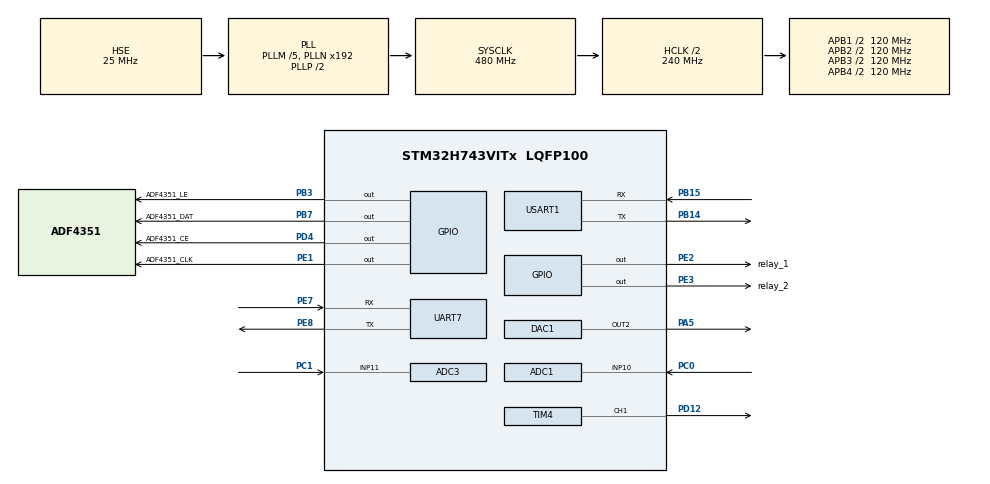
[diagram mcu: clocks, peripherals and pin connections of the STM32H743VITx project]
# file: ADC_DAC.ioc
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ADC1.Channel-1\#ChannelRegularConversion=ADC_CHANNEL_10
ADC1.ClockPrescaler=ADC_CLOCK_ASYNC_DIV1
ADC1.ConversionDataManagement=ADC_CONVERSIONDATA_DMA_CIRCULAR
ADC1.ExternalTrigConv=ADC_EXTERNALTRIG_T15_TRGO
ADC1.NbrOfConversion=1
ADC1.NbrOfConversionFlag=1
ADC1.OffsetNumber-1\#ChannelRegularConversion=ADC_OFFSET_NONE
ADC1.OffsetSignedSaturation-1\#ChannelRegularConversion=DISABLE
ADC1.OversamplingMode=ENABLE
ADC1.Rank-1\#ChannelRegularConversion=1
ADC1.Ratio=1024
ADC1.RightBitShift=ADC_RIGHTBITSHIFT_10
ADC1.SamplingTime-1\#ChannelRegularConversion=ADC_SAMPLETIME_810CYCLES_5
ADC1.master=1
ADC3.Channel-0\#ChannelRegularConversion=ADC_CHANNEL_11
ADC3.ConversionDataManagement=ADC_CONVERSIONDATA_DMA_CIRCULAR
ADC3.ExternalTrigConv=ADC_EXTERNALTRIG_T1_TRGO
ADC3.NbrOfConversionFlag=1
ADC3.OffsetNumber-0\#ChannelRegularConversion=ADC_OFFSET_NONE
ADC3.OffsetSignedSaturation-0\#ChannelRegularConversion=DISABLE
ADC3.Rank-0\#ChannelRegularConversion=1
ADC3.SamplingTime-0\#ChannelRegularConversion=ADC_SAMPLETIME_1CYCLE_5
CORTEX_M7.AccessPermission-Cortex_Memory_Protection_Unit_Region0_Settings=MPU_REGION_FULL_ACCESS
CORTEX_M7.AccessPermission-Cortex_Memory_Protection_Unit_Region1_Settings=MPU_REGION_FULL_ACCESS
CORTEX_M7.AccessPermission-Cortex_Memory_Protection_Unit_Region2_Settings=MPU_REGION_FULL_ACCESS
CORTEX_M7.AccessPermission-Cortex_Memory_Protection_Unit_Region3_Settings=MPU_REGION_FULL_ACCESS
CORTEX_M7.AccessPermission-Cortex_Memory_Protection_Unit_Region4_Settings=MPU_REGION_FULL_ACCESS
CORTEX_M7.AccessPermission_S-Cortex_Memory_Protection_Unit_Region1_Settings_S=MPU_REGION_FULL_ACCESS
CORTEX_M7.AccessPermission_S-Cortex_Memory_Protection_Unit_Region2_Settings_S=MPU_REGION_FULL_ACCESS
CORTEX_M7.AccessPermission_Spec=MPU_REGION_FULL_ACCESS
CORTEX_M7.BaseAddress-Cortex_Memory_Protection_Unit_Region0_Settings=0x24000000
CORTEX_M7.BaseAddress-Cortex_Memory_Protection_Unit_Region1_Settings=0x30000000
CORTEX_M7.BaseAddress-Cortex_Memory_Protection_Unit_Region2_Settings=0x30020000
CORTEX_M7.BaseAddress-Cortex_Memory_Protection_Unit_Region3_Settings=0x30040000
CORTEX_M7.BaseAddress-Cortex_Memory_Protection_Unit_Region4_Settings=0x38000000
CORTEX_M7.BaseAddress_S-Cortex_Memory_Protection_Unit_Region1_Settings_S=0x30000000
CORTEX_M7.BaseAddress_S-Cortex_Memory_Protection_Unit_Region2_Settings_S=0x30020000
CORTEX_M7.BaseAddress_Spec=0x24000000
CORTEX_M7.CPU_DCache=Enabled
CORTEX_M7.CPU_ICache=Enabled
CORTEX_M7.DisableExec_S-Cortex_Memory_Protection_Unit_Region1_Settings_S=MPU_INSTRUCTION_ACCESS_ENABLE
CORTEX_M7.DisableExec_S-Cortex_Memory_Protection_Unit_Region2_Settings_S=MPU_INSTRUCTION_ACCESS_ENABLE
CORTEX_M7.DisableExec_Spec=MPU_INSTRUCTION_ACCESS_ENABLE
CORTEX_M7.Enable-Cortex_Memory_Protection_Unit_Region0_Settings=MPU_REGION_ENABLE
CORTEX_M7.Enable-Cortex_Memory_Protection_Unit_Region1_Settings=MPU_REGION_ENABLE
CORTEX_M7.Enable-Cortex_Memory_Protection_Unit_Region2_Settings=MPU_REGION_ENABLE
CORTEX_M7.Enable-Cortex_Memory_Protection_Unit_Region3_Settings=MPU_REGION_ENABLE
CORTEX_M7.Enable-Cortex_Memory_Protection_Unit_Region4_Settings=MPU_REGION_ENABLE
CORTEX_M7.Enable_S-Cortex_Memory_Protection_Unit_Region1_Settings_S=MPU_REGION_ENABLE
CORTEX_M7.Enable_S-Cortex_Memory_Protection_Unit_Region2_Settings_S=MPU_REGION_ENABLE
CORTEX_M7.IsBufferable-Cortex_Memory_Protection_Unit_Region0_Settings=MPU_ACCESS_NOT_BUFFERABLE
CORTEX_M7.IsBufferable_S-Cortex_Memory_Protection_Unit_Region1_Settings_S=MPU_ACCESS_NOT_BUFFERABLE
CORTEX_M7.IsBufferable_Spec=MPU_ACCESS_BUFFERABLE
CORTEX_M7.IsCacheable-Cortex_Memory_Protection_Unit_Region0_Settings=MPU_ACCESS_NOT_CACHEABLE
CORTEX_M7.IsCacheable_S-Cortex_Memory_Protection_Unit_Region1_Settings_S=MPU_ACCESS_NOT_CACHEABLE
CORTEX_M7.IsCacheable_Spec=MPU_ACCESS_CACHEABLE
CORTEX_M7.IsShareable_Spec=MPU_ACCESS_NOT_SHAREABLE
CORTEX_M7.MPU_Control=MPU_PRIVILEGED_DEFAULT
CORTEX_M7.Size-Cortex_Memory_Protection_Unit_Region0_Settings=MPU_REGION_SIZE_512KB
CORTEX_M7.Size-Cortex_Memory_Protection_Unit_Region1_Settings=MPU_REGION_SIZE_128KB
CORTEX_M7.Size-Cortex_Memory_Protection_Unit_Region2_Settings=MPU_REGION_SIZE_128KB
CORTEX_M7.Size-Cortex_Memory_Protection_Unit_Region3_Settings=MPU_REGION_SIZE_32KB
CORTEX_M7.Size-Cortex_Memory_Protection_Unit_Region4_Settings=MPU_REGION_SIZE_64KB
CORTEX_M7.Size_S-Cortex_Memory_Protection_Unit_Region1_Settings_S=MPU_REGION_SIZE_128KB
CORTEX_M7.Size_S-Cortex_Memory_Protection_Unit_Region2_Settings_S=MPU_REGION_SIZE_128KB
CORTEX_M7.Size_Spec=MPU_REGION_SIZE_512KB
CORTEX_M7.SubRegionDisable_Spec=0x0
CORTEX_M7.TypeExtField-Cortex_Memory_Protection_Unit_Region0_Settings=MPU_TEX_LEVEL1
CORTEX_M7.TypeExtField-Cortex_Memory_Protection_Unit_Region1_Settings=MPU_TEX_LEVEL1
CORTEX_M7.TypeExtField-Cortex_Memory_Protection_Unit_Region2_Settings=MPU_TEX_LEVEL1
CORTEX_M7.TypeExtField-Cortex_Memory_Protection_Unit_Region3_Settings=MPU_TEX_LEVEL1
CORTEX_M7.TypeExtField-Cortex_Memory_Protection_Unit_Region4_Settings=MPU_TEX_LEVEL1
CORTEX_M7.TypeExtField_S-Cortex_Memory_Protection_Unit_Region1_Settings_S=MPU_TEX_LEVEL1
CORTEX_M7.TypeExtField_S-Cortex_Memory_Protection_Unit_Region2_Settings_S=MPU_TEX_LEVEL1
CORTEX_M7.TypeExtField_Spec=MPU_TEX_LEVEL1
DAC1.DAC2_OutputBuffer-DAC_OUT2=DAC_OUTPUTBUFFER_DISABLE
DAC1.DAC_Channel-DAC_OUT2=DAC_CHANNEL_2
DAC1.DAC_Trigger-DAC_OUT2=DAC_TRIGGER_T6_TRGO
Dma.ADC1.0.Direction=DMA_PERIPH_TO_MEMORY
Dma.ADC1.0.EventEnable=DISABLE
Dma.ADC1.0.FIFOMode=DMA_FIFOMODE_DISABLE
Dma.ADC1.0.Instance=DMA1_Stream1
Dma.ADC1.0.MemDataAlignment=DMA_MDATAALIGN_HALFWORD
Dma.ADC1.0.MemInc=DMA_MINC_ENABLE
Dma.ADC1.0.Mode=DMA_NORMAL
Dma.ADC1.0.PeriphDataAlignment=DMA_PDATAALIGN_HALFWORD
Dma.ADC1.0.PeriphInc=DMA_PINC_DISABLE
Dma.ADC1.0.Polarity=HAL_DMAMUX_REQ_GEN_RISING
Dma.ADC1.0.Priority=DMA_PRIORITY_HIGH
Dma.ADC1.0.RequestNumber=1
Dma.ADC1.0.SignalID=NONE
Dma.ADC1.0.SyncEnable=DISABLE
Dma.ADC1.0.SyncPolarity=HAL_DMAMUX_SYNC_NO_EVENT
Dma.ADC1.0.SyncRequestNumber=1
Dma.ADC1.0.SyncSignalID=NONE
Dma.ADC3.1.Direction=DMA_PERIPH_TO_MEMORY
Dma.ADC3.1.EventEnable=DISABLE
Dma.ADC3.1.FIFOMode=DMA_FIFOMODE_DISABLE
Dma.ADC3.1.Instance=DMA2_Stream1
Dma.ADC3.1.MemDataAlignment=DMA_MDATAALIGN_HALFWORD
Dma.ADC3.1.MemInc=DMA_MINC_ENABLE
Dma.ADC3.1.Mode=DMA_NORMAL
Dma.ADC3.1.PeriphDataAlignment=DMA_PDATAALIGN_HALFWORD
Dma.ADC3.1.PeriphInc=DMA_PINC_DISABLE
Dma.ADC3.1.Polarity=HAL_DMAMUX_REQ_GEN_RISING
Dma.ADC3.1.Priority=DMA_PRIORITY_HIGH
Dma.ADC3.1.RequestNumber=1
Dma.ADC3.1.SignalID=NONE
Dma.ADC3.1.SyncEnable=DISABLE
Dma.ADC3.1.SyncPolarity=HAL_DMAMUX_SYNC_NO_EVENT
Dma.ADC3.1.SyncRequestNumber=1
Dma.ADC3.1.SyncSignalID=NONE
Dma.DAC1_CH2.2.Direction=DMA_MEMORY_TO_PERIPH
Dma.DAC1_CH2.2.EventEnable=DISABLE
Dma.DAC1_CH2.2.FIFOMode=DMA_FIFOMODE_DISABLE
Dma.DAC1_CH2.2.Instance=DMA2_Stream0
Dma.DAC1_CH2.2.MemDataAlignment=DMA_MDATAALIGN_HALFWORD
Dma.DAC1_CH2.2.MemInc=DMA_MINC_ENABLE
Dma.DAC1_CH2.2.Mode=DMA_CIRCULAR
Dma.DAC1_CH2.2.PeriphDataAlignment=DMA_PDATAALIGN_HALFWORD
Dma.DAC1_CH2.2.PeriphInc=DMA_PINC_DISABLE
Dma.DAC1_CH2.2.Polarity=HAL_DMAMUX_REQ_GEN_RISING
Dma.DAC1_CH2.2.Priority=DMA_PRIORITY_LOW
Dma.DAC1_CH2.2.RequestNumber=1
Dma.DAC1_CH2.2.SignalID=NONE
Dma.DAC1_CH2.2.SyncEnable=DISABLE
Dma.DAC1_CH2.2.SyncPolarity=HAL_DMAMUX_SYNC_NO_EVENT
Dma.DAC1_CH2.2.SyncRequestNumber=1
Dma.DAC1_CH2.2.SyncSignalID=NONE
Dma.Request0=ADC1
Dma.Request1=ADC3
Dma.Request2=DAC1_CH2
Mcu.Family=STM32H7
Mcu.Name=STM32H743VITx
Mcu.Package=LQFP100
NVIC.DMA1_Stream1_IRQn=true\:0\:0\:false\:false\:true\:false\:true\:true
NVIC.DMA2_Stream0_IRQn=true\:0\:0\:false\:false\:true\:false\:true\:true
NVIC.DMA2_Stream1_IRQn=true\:0\:0\:false\:false\:true\:false\:true\:true
NVIC.PriorityGroup=NVIC_PRIORITYGROUP_4
NVIC.TIM3_IRQn=true\:0\:0\:false\:false\:true\:true\:true\:true
NVIC.TIM4_IRQn=true\:0\:0\:false\:false\:true\:true\:true\:true
NVIC.UART7_IRQn=true\:0\:0\:false\:false\:true\:true\:true\:true
PA13\ (JTMS/SWDIO).Mode=Serial_Wire
PA13\ (JTMS/SWDIO).Signal=DEBUG_JTMS-SWDIO
PA14\ (JTCK/SWCLK).Mode=Serial_Wire
PA14\ (JTCK/SWCLK).Signal=DEBUG_JTCK-SWCLK
PA5.Signal=COMP_DAC12_group
PB14.Mode=Asynchronous
PB14.Signal=USART1_TX
PB15.Mode=Asynchronous
PB15.Signal=USART1_RX
PB3\ (JTDO/TRACESWO).GPIO_Label=ADF4351_LE
PB3\ (JTDO/TRACESWO).GPIO_PuPd=GPIO_PULLUP
PB3\ (JTDO/TRACESWO).GPIO_Speed=GPIO_SPEED_FREQ_VERY_HIGH
PB3\ (JTDO/TRACESWO).PinState=GPIO_PIN_SET
PB3\ (JTDO/TRACESWO).Signal=GPIO_Output
PB7.GPIO_Label=ADF4351_DAT
PB7.GPIO_PuPd=GPIO_PULLUP
PB7.GPIO_Speed=GPIO_SPEED_FREQ_VERY_HIGH
PB7.PinState=GPIO_PIN_SET
PB7.Signal=GPIO_Output
PC0.Signal=ADCx_INP10
PC1.Signal=ADCx_INP11
PD12.Signal=S_TIM4_CH1
PD4.GPIO_Label=ADF4351_CE
PD4.GPIO_PuPd=GPIO_PULLUP
PD4.GPIO_Speed=GPIO_SPEED_FREQ_VERY_HIGH
PD4.PinState=GPIO_PIN_SET
PD4.Signal=GPIO_Output
PE1.GPIO_Label=ADF4351_CLK
PE1.GPIO_PuPd=GPIO_PULLUP
PE1.GPIO_Speed=GPIO_SPEED_FREQ_VERY_HIGH
PE1.PinState=GPIO_PIN_SET
PE1.Signal=GPIO_Output
PE2.GPIO_Label=relay_1
PE2.GPIO_PuPd=GPIO_PULLDOWN
PE2.GPIO_Speed=GPIO_SPEED_FREQ_VERY_HIGH
PE2.PinState=GPIO_PIN_RESET
PE2.Signal=GPIO_Output
PE3.GPIO_Label=relay_2
PE3.GPIO_PuPd=GPIO_PULLDOWN
PE3.GPIO_Speed=GPIO_SPEED_FREQ_VERY_HIGH
PE3.Signal=GPIO_Output
PE7.Mode=Asynchronous
PE7.Signal=UART7_RX
PE8.Mode=Asynchronous
PE8.Signal=UART7_TX
PH0-OSC_IN\ (PH0).Mode=HSE-External-Oscillator
PH0-OSC_IN\ (PH0).Signal=RCC_OSC_IN
PH1-OSC_OUT\ (PH1).Mode=HSE-External-Oscillator
PH1-OSC_OUT\ (PH1).Signal=RCC_OSC_OUT
ProjectManager.HeapSize=0x200
ProjectManager.StackSize=0x7400
ProjectManager.TargetToolchain=MDK-ARM V5.32
RCC.ADCFreq_Value=72000000
RCC.APB1Freq_Value=120000000
RCC.APB2Freq_Value=120000000
RCC.APB3Freq_Value=120000000
RCC.APB4Freq_Value=120000000
RCC.CortexFreq_Value=480000000
RCC.D1PPRE=RCC_APB3_DIV2
RCC.D2PPRE1=RCC_APB1_DIV2
RCC.D2PPRE2=RCC_APB2_DIV2
RCC.D3PPRE=RCC_APB4_DIV2
RCC.DIVM1=5
RCC.DIVM2=25
RCC.DIVN1=192
RCC.DIVN2=360
RCC.DIVP2=5
RCC.HCLKFreq_Value=240000000
RCC.HPRE=RCC_HCLK_DIV2
RCC.HSE_Timout=5000
RCC.PLLSourceVirtual=RCC_PLLSOURCE_HSE
RCC.ProductRev=revV
RCC.SYSCLKFreq_VALUE=480000000
RCC.SYSCLKSource=RCC_SYSCLKSOURCE_PLLCLK
RCC.USBFreq_Value=480000000
SH.ADCx_INP10.0=ADC2_INP10
SH.ADCx_INP10.1=ADC1_INP10,IN10-Single-Ended
SH.ADCx_INP11.0=ADC3_INP11,IN11-Single-Ended
SH.COMP_DAC12_group.0=DAC1_OUT2,DAC_OUT2
SH.S_TIM4_CH1.0=TIM4_CH1,PWM Generation1 CH1
TIM1.AutoReloadPreload=TIM_AUTORELOAD_PRELOAD_ENABLE
TIM1.Period=5-1
TIM1.Prescaler=240-1
TIM1.TIM_MasterOutputTrigger=TIM_TRGO_UPDATE
TIM15.AutoReloadPreload=TIM_AUTORELOAD_PRELOAD_ENABLE
TIM15.Period=50-1
TIM15.Prescaler=60-1
TIM15.TIM_MasterOutputTrigger=TIM_TRGO_UPDATE
TIM2.AutoReloadPreload=TIM_AUTORELOAD_PRELOAD_ENABLE
TIM2.Period=20-1
TIM2.Prescaler=240-1
TIM3.AutoReloadPreload=TIM_AUTORELOAD_PRELOAD_ENABLE
TIM3.Period=100-1
TIM3.Prescaler=240-1
TIM4.AutoReloadPreload=TIM_AUTORELOAD_PRELOAD_ENABLE
TIM4.Channel-PWM\ Generation1\ CH1=TIM_CHANNEL_1
TIM4.Period=10-1
TIM4.Prescaler=3-1
TIM4.Pulse-PWM\ Generation1\ CH1=5-1
TIM6.AutoReloadPreload=TIM_AUTORELOAD_PRELOAD_ENABLE
TIM6.Period=200-1
TIM6.Prescaler=12-1
TIM6.TIM_MasterOutputTrigger=TIM_TRGO_UPDATE
TIM7.Prescaler=239
UART7.RXFIFOThreshold=RXFIFO_THRESHOLD_1EIGHTHFULL
UART7.TXFIFOThreshold=TXFIFO_THRESHOLD_1EIGHTHFULL
USART1.VirtualMode-Asynchronous=VM_ASYNC
VP_TIM15_VS_ClockSourceINT.Mode=Internal
VP_TIM1_VS_ClockSourceINT.Mode=Internal
VP_TIM2_VS_ClockSourceINT.Mode=Internal
VP_TIM3_VS_ClockSourceINT.Mode=Internal
VP_TIM4_VS_ClockSourceINT.Mode=Internal
VP_TIM6_VS_ClockSourceINT.Mode=Enable_Timer
VP_TIM7_VS_ClockSourceINT.Mode=Enable_Timer
board=custom

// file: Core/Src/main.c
/* USER CODE BEGIN Header */
/**
  ******************************************************************************
  * @file           : main.c
  * @brief          : Main program body
  ******************************************************************************
  * @attention
  *
  * Copyright (c) 2022 STMicroelectronics.
  * All rights reserved.
  *
  * This software is licensed under terms that can be found in the LICENSE file
  * in the root directory of this software component.
  * If no LICENSE file comes with this software, it is provided AS-IS.
  *
  ******************************************************************************
  */
/* USER CODE END Header */
#include "main.h"
#include "adc.h"
#include "dac.h"
#include "dma.h"
#include "tim.h"
#include "usart.h"
#include "gpio.h"

/* USER CODE BEGIN Includes */
int length_flag = 0;
int load_flag = 0;
char screen_message[30] = {0};
uint32_t frequency = 25000000;
/* USER CODE END Includes */

/* USER CODE BEGIN PTD */
ALIGN_32BYTES (uint16_t adc1_data[10000])  __attribute__((section(".ARM.__at_0x30020000")));
ALIGN_32BYTES (uint16_t adc3_data[2000]) 	__attribute__((section(".ARM.__at_0x30000000")));

//ALIGN_32BYTES (uint16_t comp[1000]) 	__attribute__((section(".ARM.__at_0x300200000")));
uint16_t comp[2000] = {0};
__IO uint8_t AdcConvEnd = 0;//表示adc采集完成__at_0x24000000
float scan_data[480] = {0};
float voltage_load1[16] = {0};
float voltage_load2[16] = {0};
float voltage_load3[16] = {0};

uint16_t Dat[20]={0};

void adc_saopin(void)
{
//	HAL_ADC_DeInit(&hadc1);
	MX_ADC1_Init();	//初始化调用放这里, 确保在MX_DMA_Init()初始化后面
	Delay_Us(100);	//有地方说这里可以等等电压稳定后再校准

	if (HAL_ADCEx_Calibration_Start(&hadc1, ADC_CALIB_OFFSET, ADC_SINGLE_ENDED) != HAL_OK)
	{
			printf("hadc1 error with HAL_ADCEx_Calibration_Start\r\n");
			Error_Handler();
	}

	if (HAL_ADC_Start_DMA(&hadc1, (uint32_t *)adc1_data, 16) != HAL_OK)
	{
			printf("hadc1 error with HAL_ADC_Start_DMA\r\n");
			Error_Handler();
	}

	HAL_TIM_Base_Start(&htim15);
	while (!AdcConvEnd);
	AdcConvEnd = 0;
	HAL_ADC_DeInit(&hadc1);
}

void adc_init(void)
{
//	HAL_ADC_DeInit(&hadc1);
	MX_ADC1_Init();	//初始化调用放这里, 确保在MX_DMA_Init()初始化后面
	HAL_Delay(100);	//有地方说这里可以等等电压稳定后再校准

	if (HAL_ADCEx_Calibration_Start(&hadc1, ADC_CALIB_OFFSET, ADC_SINGLE_ENDED) != HAL_OK)
	{
			printf("hadc1 error with HAL_ADCEx_Calibration_Start\r\n");
			Error_Handler();
	}

	if (HAL_ADC_Start_DMA(&hadc1, (uint32_t *)adc1_data, 10000) != HAL_OK)
	{
			printf("hadc1 error with HAL_ADC_Start_DMA\r\n");
			Error_Handler();
	}

	HAL_TIM_Base_Start(&htim15);
	while (!AdcConvEnd);
	AdcConvEnd = 0;
	HAL_ADC_DeInit(&hadc1);
}

void adc3_init(void)
{
//	HAL_ADC_DeInit(&hadc3);
	MX_ADC3_Init();	//初始化调用放这里, 确保在MX_DMA_Init()初始化后面
	HAL_Delay(100);	//有地方说这里可以等等电压稳定后再校准

	if (HAL_ADCEx_Calibration_Start(&hadc3, ADC_CALIB_OFFSET, ADC_SINGLE_ENDED) != HAL_OK)
	{
			printf("hadc1 error with HAL_ADCEx_Calibration_Start\r\n");
			Error_Handler();
	}

	if (HAL_ADC_Start_DMA(&hadc3, (uint32_t *)adc3_data, 2000) != HAL_OK)
	{
			printf("hadc3 error with HAL_ADC_Start_DMA\r\n");
			Error_Handler();
	}

	HAL_TIM_Base_Start(&htim1);
	while (!AdcConvEnd);
	AdcConvEnd = 0;
		HAL_ADC_DeInit(&hadc3);

}
void SineWave()
{
    uint16_t i;
    for( i=0;i<20;i++)
    {
  		Dat[i]= 2482;

    }
}

/* USER CODE END PTD */

void SystemClock_Config(void);
void PeriphCommonClock_Config(void);
static void MPU_Config(void);

int main(void)
{
  /* USER CODE BEGIN 1 */
	//系统初始化代码
//	{
  /* USER CODE END 1 */

  /* MPU Configuration--------------------------------------------------------*/
  MPU_Config();

  /* Enable I-Cache---------------------------------------------------------*/
  SCB_EnableICache();

  /* Enable D-Cache---------------------------------------------------------*/
  SCB_EnableDCache();

  /* MCU Configuration--------------------------------------------------------*/

  /* Reset of all peripherals, Initializes the Flash interface and the Systick. */
  HAL_Init();

  /* USER CODE BEGIN Init */
	uint32_t saopin = 0;
  /* USER CODE END Init */

  /* Configure the system clock */
  SystemClock_Config();

/* Configure the peripherals common clocks */
  PeriphCommonClock_Config();

  /* Initialize all configured peripherals */
  MX_GPIO_Init();
  MX_DMA_Init();
  MX_TIM7_Init();
  MX_TIM6_Init();
  MX_ADC1_Init();
  MX_USART1_UART_Init();
  MX_ADC3_Init();
  MX_TIM15_Init();
  MX_TIM1_Init();
  MX_UART7_Init();
  MX_TIM2_Init();
  MX_TIM3_Init();
  MX_TIM4_Init();
  MX_DAC1_Init();
  /* USER CODE BEGIN 2 */
	HAL_TIM_PWM_Start(&htim4,TIM_CHANNEL_1);  //开启PWM通道1
	double data = 0;
	Init_ad9910();
	Write_Amplitude(100);
	Freq_convert(20000000);
	float adata = 0;
	ADF4351Init();
	ADF4351WriteFreq(200);	//设置固定输出频率为400MHZ
	ADS1256_Init(ADS1256_GAIN_1,ADS1256_DRATE_1000SPS);
	workstate(0);
	while(1)
	{
		if(length_flag == 1)
		{
			workstate(1);
			length_flag = 0;

			Relay1_H;
			Relay2_L;
			Freq_convert(100000);
			Delay_Us(100);
			adc_saopin();
			for (u16 temp = 0; temp< 16;temp++)
			{
				adata = (float)(adc1_data[temp])/65536*3300;
//				printf("%f\r\n", adata);
				voltage_load1[temp] = adata;
			}
			Relay1_L;
			Relay2_H;
			Delay_Us(100);
			adc_saopin();
			for (u16 temp = 0; temp< 16;temp++)
			{
				adata = (float)(adc1_data[temp])/65536*3300;
//				printf("%f\r\n", adata);
				voltage_load1[temp] = 20*(adata)/(voltage_load1[temp]-adata);
				voltage_load1[temp] = logf(voltage_load1[temp])+logf(100000);
			}

			Relay1_H;
			Relay2_L;
			Freq_convert(1000000);
			Delay_Us(100);
			adc_saopin();
			for (u16 temp = 0; temp< 16;temp++)
			{
				adata = (float)(adc1_data[temp])/65536*3300;
//				printf("%f\r\n", adata);
				voltage_load2[temp] = adata;
			}
			Relay1_L;
			Relay2_H;
			Delay_Us(100);
			adc_saopin();
			for (u16 temp = 0; temp< 16;temp++)
			{
				adata = (float)(adc1_data[temp])/65536*3300;
//				printf("%f\r\n", adata);
				voltage_load2[temp] = 20*(adata)/(voltage_load2[temp]-adata);
				voltage_load2[temp] = logf(voltage_load2[temp])+logf(1000000);
			}

			Relay1_H;
			Relay2_L;
			Freq_convert(2000000);
			Delay_Us(100);
			adc_saopin();
			for (u16 temp = 0; temp< 16;temp++)
			{
				adata = (float)(adc1_data[temp])/65536*3300;
//				printf("%f\r\n", adata);
				voltage_load3[temp] = adata;
			}
			Relay1_L;
			Relay2_H;
			Delay_Us(100);
			adc_saopin();
			for (u16 temp = 0; temp< 16;temp++)
			{
				adata = (float)(adc1_data[temp])/65536*3300;
//				printf("%f\r\n", adata);
				voltage_load3[temp] = 20*(adata)/(voltage_load3[temp]-adata);
				voltage_load3[temp] = logf(voltage_load3[temp])+logf(2000000);
			}
			for (u16 temp = 0; temp< 16;temp++)
			{
				printf("%f\r\n", voltage_load1[temp]);
			}
			for (u16 temp = 0; temp< 16;temp++)
			{
				printf("%f\r\n", voltage_load2[temp]);
			}
			for (u16 temp = 0; temp< 16;temp++)
			{
				printf("%f\r\n", voltage_load3[temp]);
			}

			workstate(0);
		}
		if(load_flag == 1)
		{
			workstate(1);
			SineWave();//生成正弦数据
			HAL_DAC_Start_DMA(&hdac1,DAC_CHANNEL_2,(uint32_t *)Dat,20,DAC_ALIGN_12B_R);//开启DMA-DAC
			HAL_TIM_Base_Start(&htim6);//打开定时器6
			workstate(0);
		}

	}

  /* USER CODE END 2 */

  /* Infinite loop */
  /* USER CODE BEGIN WHILE */
	adc_saopin();
	for (u16 temp = 0; temp< 16;temp++)
	{
		adata = (float)(adc1_data[temp])/65536*3300;
		printf("%f\r\n", adata);
	}

  while (1)
  {

    /* USER CODE END WHILE */

  }
}

void SystemClock_Config(void)
{
  RCC_OscInitTypeDef RCC_OscInitStruct = {0};
  RCC_ClkInitTypeDef RCC_ClkInitStruct = {0};

  /** Supply configuration update enable
  */
  HAL_PWREx_ConfigSupply(PWR_LDO_SUPPLY);

  /** Configure the main internal regulator output voltage
  */
  __HAL_PWR_VOLTAGESCALING_CONFIG(PWR_REGULATOR_VOLTAGE_SCALE1);

  while(!__HAL_PWR_GET_FLAG(PWR_FLAG_VOSRDY)) {}

  __HAL_RCC_SYSCFG_CLK_ENABLE();
  __HAL_PWR_VOLTAGESCALING_CONFIG(PWR_REGULATOR_VOLTAGE_SCALE0);

  while(!__HAL_PWR_GET_FLAG(PWR_FLAG_VOSRDY)) {}

  /** Initializes the RCC Oscillators according to the specified parameters
  * in the RCC_OscInitTypeDef structure.
  */
  RCC_OscInitStruct.OscillatorType = RCC_OSCILLATORTYPE_HSE;
  RCC_OscInitStruct.HSEState = RCC_HSE_ON;
  RCC_OscInitStruct.PLL.PLLState = RCC_PLL_ON;
  RCC_OscInitStruct.PLL.PLLSource = RCC_PLLSOURCE_HSE;
  RCC_OscInitStruct.PLL.PLLM = 5;
  RCC_OscInitStruct.PLL.PLLN = 192;
  RCC_OscInitStruct.PLL.PLLP = 2;
  RCC_OscInitStruct.PLL.PLLQ = 2;
  RCC_OscInitStruct.PLL.PLLR = 2;
  RCC_OscInitStruct.PLL.PLLRGE = RCC_PLL1VCIRANGE_2;
  RCC_OscInitStruct.PLL.PLLVCOSEL = RCC_PLL1VCOWIDE;
  RCC_OscInitStruct.PLL.PLLFRACN = 0;
  if (HAL_RCC_OscConfig(&RCC_OscInitStruct) != HAL_OK)
  {
    Error_Handler();
  }

  /** Initializes the CPU, AHB and APB buses clocks
  */
  RCC_ClkInitStruct.ClockType = RCC_CLOCKTYPE_HCLK|RCC_CLOCKTYPE_SYSCLK
                              |RCC_CLOCKTYPE_PCLK1|RCC_CLOCKTYPE_PCLK2
                              |RCC_CLOCKTYPE_D3PCLK1|RCC_CLOCKTYPE_D1PCLK1;
  RCC_ClkInitStruct.SYSCLKSource = RCC_SYSCLKSOURCE_PLLCLK;
  RCC_ClkInitStruct.SYSCLKDivider = RCC_SYSCLK_DIV1;
  RCC_ClkInitStruct.AHBCLKDivider = RCC_HCLK_DIV2;
  RCC_ClkInitStruct.APB3CLKDivider = RCC_APB3_DIV2;
  RCC_ClkInitStruct.APB1CLKDivider = RCC_APB1_DIV2;
  RCC_ClkInitStruct.APB2CLKDivider = RCC_APB2_DIV2;
  RCC_ClkInitStruct.APB4CLKDivider = RCC_APB4_DIV2;

  if (HAL_RCC_ClockConfig(&RCC_ClkInitStruct, FLASH_LATENCY_4) != HAL_OK)
  {
    Error_Handler();
  }
}

void PeriphCommonClock_Config(void)
{
  RCC_PeriphCLKInitTypeDef PeriphClkInitStruct = {0};

  /** Initializes the peripherals clock
  */
  PeriphClkInitStruct.PeriphClockSelection = RCC_PERIPHCLK_ADC;
  PeriphClkInitStruct.PLL2.PLL2M = 25;
  PeriphClkInitStruct.PLL2.PLL2N = 360;
  PeriphClkInitStruct.PLL2.PLL2P = 5;
  PeriphClkInitStruct.PLL2.PLL2Q = 2;
  PeriphClkInitStruct.PLL2.PLL2R = 2;
  PeriphClkInitStruct.PLL2.PLL2RGE = RCC_PLL2VCIRANGE_0;
  PeriphClkInitStruct.PLL2.PLL2VCOSEL = RCC_PLL2VCOWIDE;
  PeriphClkInitStruct.PLL2.PLL2FRACN = 0;
  PeriphClkInitStruct.AdcClockSelection = RCC_ADCCLKSOURCE_PLL2;
  if (HAL_RCCEx_PeriphCLKConfig(&PeriphClkInitStruct) != HAL_OK)
  {
    Error_Handler();
  }
}

/* USER CODE BEGIN 4 */
void HAL_ADC_ConvCpltCallback(ADC_HandleTypeDef* hadc)
{
   if(hadc->Instance == ADC1)
	{
      //SCB_InvalidateDCache_by_Addr((uint32_t *) &adc1_data[0], ADC1_BUFFER_SIZE);
   }
	 AdcConvEnd = 1;
}

/* USER CODE END 4 */

/* MPU Configuration */

void MPU_Config(void)
{
  MPU_Region_InitTypeDef MPU_InitStruct = {0};

  /* Disables the MPU */
  HAL_MPU_Disable();

  /** Initializes and configures the Region and the memory to be protected
  */
  MPU_InitStruct.Enable = MPU_REGION_ENABLE;
  MPU_InitStruct.Number = MPU_REGION_NUMBER0;
  MPU_InitStruct.BaseAddress = 0x24000000;
  MPU_InitStruct.Size = MPU_REGION_SIZE_512KB;
  MPU_InitStruct.SubRegionDisable = 0x0;
  MPU_InitStruct.TypeExtField = MPU_TEX_LEVEL1;
  MPU_InitStruct.AccessPermission = MPU_REGION_FULL_ACCESS;
  MPU_InitStruct.DisableExec = MPU_INSTRUCTION_ACCESS_ENABLE;
  MPU_InitStruct.IsShareable = MPU_ACCESS_NOT_SHAREABLE;
  MPU_InitStruct.IsCacheable = MPU_ACCESS_NOT_CACHEABLE;
  MPU_InitStruct.IsBufferable = MPU_ACCESS_NOT_BUFFERABLE;

  HAL_MPU_ConfigRegion(&MPU_InitStruct);

  /** Initializes and configures the Region and the memory to be protected
  */
  MPU_InitStruct.Number = MPU_REGION_NUMBER1;
  MPU_InitStruct.BaseAddress = 0x30000000;
  MPU_InitStruct.Size = MPU_REGION_SIZE_128KB;

  HAL_MPU_ConfigRegion(&MPU_InitStruct);

  /** Initializes and configures the Region and the memory to be protected
  */
  MPU_InitStruct.Number = MPU_REGION_NUMBER2;
  MPU_InitStruct.BaseAddress = 0x30020000;

  HAL_MPU_ConfigRegion(&MPU_InitStruct);

  /** Initializes and configures the Region and the memory to be protected
  */
  MPU_InitStruct.Number = MPU_REGION_NUMBER3;
  MPU_InitStruct.BaseAddress = 0x30040000;
  MPU_InitStruct.Size = MPU_REGION_SIZE_32KB;

  HAL_MPU_ConfigRegion(&MPU_InitStruct);

  /** Initializes and configures the Region and the memory to be protected
  */
  MPU_InitStruct.Number = MPU_REGION_NUMBER4;
  MPU_InitStruct.BaseAddress = 0x38000000;
  MPU_InitStruct.Size = MPU_REGION_SIZE_64KB;

  HAL_MPU_ConfigRegion(&MPU_InitStruct);
  /* Enables the MPU */
  HAL_MPU_Enable(MPU_PRIVILEGED_DEFAULT);

}

void Error_Handler(void)
{
  __disable_irq();
  while (1)
  {
  }
}
